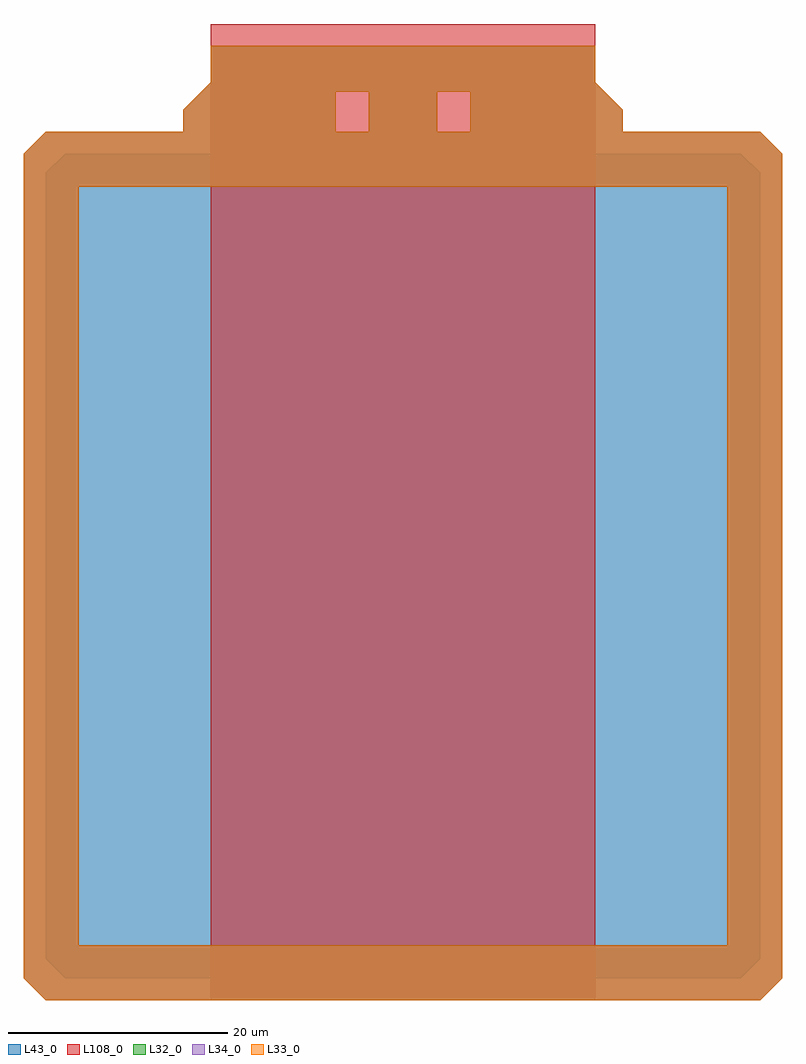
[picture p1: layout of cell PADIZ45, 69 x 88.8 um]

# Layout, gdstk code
import gdstk
lib = gdstk.Library(unit=1e-6, precision=1e-09)
def R(c, l, rs):  # rectangles x0, y0, x1, y1
    for r in rs: c.add(gdstk.rectangle(r[:2], r[2:], *l))
def P(c, l, *ps):  # polygons
    for p in ps: c.add(gdstk.Polygon(p, *l))
L32_0 = (32, 0)
L33_0 = (33, 0)
L34_0 = (34, 0)
L43_0 = (43, 0)
L108_0 = (108, 0)

padiz45 = lib.new_cell('PADIZ45')
P(padiz45, L32_0, [(69,77),(67,79),(2,79),(0,77),(0,74),(69,74)],
  [(69,77),(64,77),(64,0),(67,0),(69,2)],
  [(5,77),(0,77),(0,2),(2,0),(5,0)],
  [(66.93,5),(0,5),(0,2),(2,0),(66.93,0)],
  [(54.5,77),(37.62,77),(37.62,79),(40.62,79),(40.62,82.625),(37.62,82.625),(37.62,77),(28.38,77),(28.38,79),(31.38,79),(31.38,82.625),(28.38,82.625),(28.38,77),(14.5,77),(14.5,81),(17,83.5),(17,86.8),(52,86.8),(52,83.5),(54.5,81)])
P(padiz45, L33_0, [(5,77),(0,77),(0,2),(2,0),(5,0)],
  [(69,77),(64,77),(64,0),(67,0),(69,2)],
  [(69,77),(67,79),(2,79),(0,77),(0,74),(69,74)],
  [(54.5,77),(37.62,77),(37.62,79),(40.62,79),(40.62,82.625),(37.62,82.625),(37.62,77),(28.38,77),(28.38,79),(31.38,79),(31.38,82.625),(28.38,82.625),(28.38,77),(14.5,77),(14.5,81),(17,83.5),(17,86.8),(52,86.8),(52,83.5),(54.5,81)])
P(padiz45, L34_0, [(66.93,5),(0,5),(0,2),(2,0),(66.93,0)],
  [(5,77),(0,77),(0,2),(2,0),(5,0)],
  [(69,77),(64,77),(64,0),(67,0),(69,2)],
  [(69,77),(67,79),(2,79),(0,77),(0,74),(69,74)],
  [(54.5,77),(37.62,77),(37.62,79),(40.62,79),(40.62,82.625),(37.62,82.625),(37.62,77),(28.38,77),(28.38,79),(31.38,79),(31.38,82.625),(28.38,82.625),(28.38,77),(14.5,77),(14.5,81),(17,83.5),(17,86.8),(52,86.8),(52,83.5),(54.5,81)])
P(padiz45, L43_0, [(67,75.25),(65.25,77),(3.75,77),(2,75.25),(2,3.75),(3.75,2),(65.25,2),(67,3.75)])
R(padiz45, L108_0, [(17,0,52,88.8)])
padiz45.add(gdstk.FlexPath([(2.5,2.5),(66.93,2.5)], 5, ends="flush", simple_path=True, layer=33, datatype=0))  # L33_0

lib.write_gds('PADIZ45.gds')
